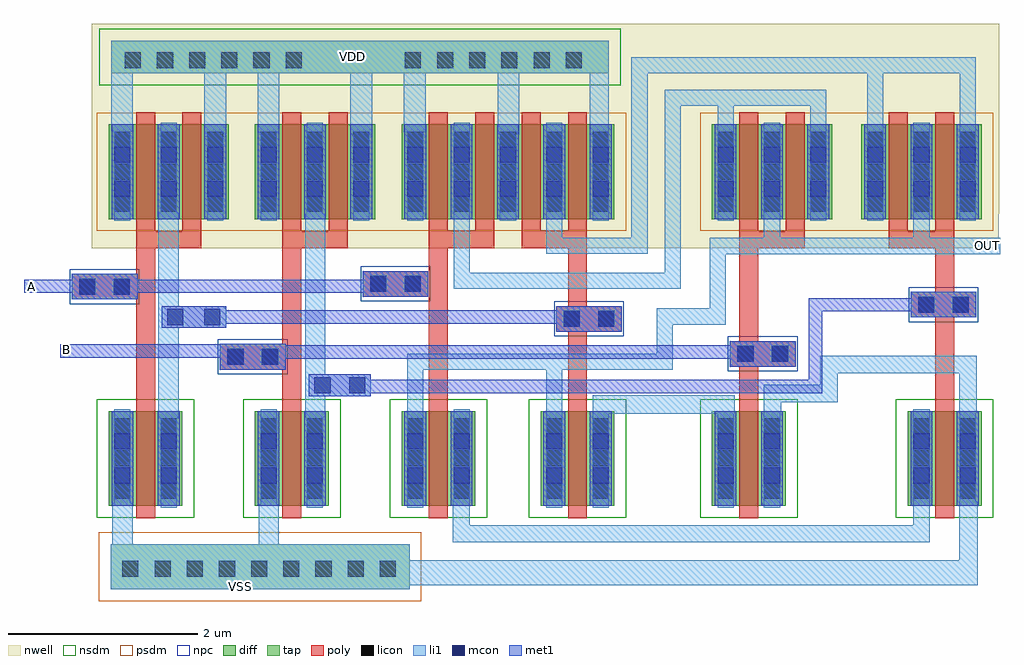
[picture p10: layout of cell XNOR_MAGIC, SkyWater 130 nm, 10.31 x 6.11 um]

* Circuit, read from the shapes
.subckt XNOR_MAGIC A B OUT VDD VSS
XM1 n1 A VSS VSS sky130_fd_pr__nfet_01v8 w=1 l=0.2
XM2 n2 B VSS VSS sky130_fd_pr__nfet_01v8 w=1 l=0.2
XM3 n3 A OUT VSS sky130_fd_pr__nfet_01v8 w=1 l=0.2
XM4 n4 n1 OUT VSS sky130_fd_pr__nfet_01v8 w=1 l=0.2
XM5 VSS B n4 VSS sky130_fd_pr__nfet_01v8 w=1 l=0.2
XM6 VSS n2 n3 VSS sky130_fd_pr__nfet_01v8 w=1 l=0.2
XM7 n1 A VDD VDD sky130_fd_pr__pfet_01v8 w=1 l=0.2 m=2
XM8 n2 B VDD VDD sky130_fd_pr__pfet_01v8 w=1 l=0.2 m=2
XM9 n5 A VDD VDD sky130_fd_pr__pfet_01v8 w=1 l=0.2 m=2
XM10 n6 n1 VDD VDD sky130_fd_pr__pfet_01v8 w=1 l=0.2 m=2
XM11 OUT B n5 VDD sky130_fd_pr__pfet_01v8 w=1 l=0.2 m=2
XM12 OUT n2 n6 VDD sky130_fd_pr__pfet_01v8 w=1 l=0.2 m=2
.ends

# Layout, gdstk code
import gdstk
lib = gdstk.Library(unit=1e-6, precision=1e-09)
def R(c, l, rs):  # rectangles x0, y0, x1, y1
    for r in rs: c.add(gdstk.rectangle(r[:2], r[2:], *l))
def A(c, l, x, y, w, h, nx, ny, dx, dy):  # array of equal rectangles
    R(c, l, [(x+i*dx, y+j*dy, x+i*dx+w, y+j*dy+h) for i in range(nx) for j in range(ny)])
nwell = (64, 20)
diff = (65, 20)
tap = (65, 44)
poly = (66, 20)
licon = (66, 44)
li1 = (67, 20)
mcon = (67, 44)
met1 = (68, 20)
nsdm = (93, 44)
psdm = (94, 20)
npc = (95, 20)

sky130_fd_pr__nfet_01v8_ = lib.new_cell('sky130_fd_pr__nfet_01v8_NUEGCF#0')
R(sky130_fd_pr__nfet_01v8_, diff, [(-0.39,-0.5,0.39,0.5)])
R(sky130_fd_pr__nfet_01v8_, poly, [(-0.1,-0.63,0.1,0.63)])
A(sky130_fd_pr__nfet_01v8_, licon, -0.33, -0.425, 0.17, 0.17, 1, 3, 0, 0.34)
A(sky130_fd_pr__nfet_01v8_, licon, 0.16, -0.425, 0.17, 0.17, 1, 3, 0, 0.34)
R(sky130_fd_pr__nfet_01v8_, li1, [(-0.33,-0.52,-0.16,0.52), (0.16,-0.52,0.33,0.52)])
R(sky130_fd_pr__nfet_01v8_, mcon, [(-0.33,-0.265,-0.16,-0.095), (0.16,-0.265,0.33,-0.095), (-0.33,0.095,-0.16,0.265), (0.16,0.095,0.33,0.265)])
R(sky130_fd_pr__nfet_01v8_, met1, [(-0.36,-0.5,-0.13,0.5), (0.13,-0.5,0.36,0.5)])
R(sky130_fd_pr__nfet_01v8_, nsdm, [(-0.515,-0.625,0.515,0.625)])

sky130_fd_pr__pfet_01v8_ = lib.new_cell('sky130_fd_pr__pfet_01v8_ES6JQB#0')
R(sky130_fd_pr__pfet_01v8_, nwell, [(-0.57,-0.81,0.57,0.81)])
R(sky130_fd_pr__pfet_01v8_, diff, [(-0.39,-0.5,0.39,0.5)])
R(sky130_fd_pr__pfet_01v8_, poly, [(-0.1,-0.63,0.1,0.63)])
A(sky130_fd_pr__pfet_01v8_, licon, -0.33, -0.425, 0.17, 0.17, 1, 3, 0, 0.34)
A(sky130_fd_pr__pfet_01v8_, licon, 0.16, -0.425, 0.17, 0.17, 1, 3, 0, 0.34)
R(sky130_fd_pr__pfet_01v8_, li1, [(-0.33,-0.52,-0.16,0.52), (0.16,-0.52,0.33,0.52)])
R(sky130_fd_pr__pfet_01v8_, mcon, [(-0.33,-0.265,-0.16,-0.095), (0.16,-0.265,0.33,-0.095), (-0.33,0.095,-0.16,0.265), (0.16,0.095,0.33,0.265)])
R(sky130_fd_pr__pfet_01v8_, met1, [(-0.36,-0.5,-0.13,0.5), (0.13,-0.5,0.36,0.5)])
R(sky130_fd_pr__pfet_01v8_, psdm, [(-0.515,-0.625,0.515,0.625)])

xnor_magic = lib.new_cell('XNOR_MAGIC')
R(xnor_magic, nwell, [(-0.09,0.615,8.945,0.785), (-0.09,0.785,8.955,0.98), (-0.09,0.98,9.1,2.225), (-0.49,2.225,9.1,2.99)])
R(xnor_magic, tap, [(-0.29,-2.99,2.87,-2.51), (-0.285,2.465,4.975,2.81)])
R(xnor_magic, poly, [(6.355,-1.26,6.555,-0.635), (3.075,-1.22,3.275,0.105), (8.425,-1.16,8.625,-0.115), (4.545,-1.1,4.745,-0.265), (1.525,-1.075,1.725,-0.665), (-0.02,-1.035,0.18,0.075), (0.865,-0.665,1.725,-0.395), (6.255,-0.635,6.95,-0.365), (1.525,-0.395,1.725,0.615), (6.355,-0.365,6.555,0.615), (4.42,-0.265,5.115,0.005), (8.165,-0.115,8.86,0.155), (4.545,0.005,4.745,0.615), (-0.7,0.075,0.18,0.345), (2.375,0.105,3.275,0.375), (8.425,0.155,8.625,0.615), (-0.02,0.345,0.18,0.615), (3.075,0.375,3.275,0.615), (-0.02,0.615,0.67,0.795), (1.525,0.615,2.215,0.795), (3.075,0.615,3.765,0.8), (4.055,0.615,4.745,0.8), (6.355,0.615,7.045,0.795), (7.935,0.615,8.625,0.795), (-0.02,0.795,0.18,0.925), (1.525,0.795,1.725,0.85), (2.015,0.795,2.215,0.815), (6.355,0.795,6.555,0.85), (8.425,0.795,8.625,0.815), (3.075,0.8,3.275,0.815), (4.545,0.8,4.745,0.815)])
A(xnor_magic, licon, -0.165, -2.855, 0.17, 0.17, 9, 1, 0.34, 0)
A(xnor_magic, licon, -0.14, 2.52, 0.17, 0.17, 6, 1, 0.34, 0)
A(xnor_magic, licon, 2.82, 2.52, 0.17, 0.17, 6, 1, 0.34, 0)
R(xnor_magic, licon, [(0.945,-0.615,1.115,-0.445), (1.31,-0.615,1.48,-0.445), (6.335,-0.585,6.505,-0.415), (6.7,-0.585,6.87,-0.415), (4.5,-0.215,4.67,-0.045), (4.865,-0.215,5.035,-0.045), (8.245,-0.065,8.415,0.105), (8.61,-0.065,8.78,0.105), (-0.62,0.125,-0.45,0.295), (-0.255,0.125,-0.085,0.295), (2.455,0.155,2.625,0.325), (2.82,0.155,2.99,0.325)])
R(xnor_magic, li1, [(-0.29,-2.99,2.87,-2.945), (-0.29,-2.945,8.875,-2.68), (-0.29,-2.68,2.87,-2.51), (8.68,-2.68,8.875,-2.065), (-0.27,-2.51,-0.055,-2.08), (1.275,-2.51,1.49,-2.09), (3.325,-2.49,8.365,-2.31), (3.325,-2.31,3.505,-2.04), (8.195,-2.31,8.365,-2.1), (0.215,-1.18,0.43,-0.225), (1.765,-1.17,1.98,-0.945), (4.805,-1.13,6.305,-0.935), (8.68,-1.12,8.865,-0.705), (6.615,-1.115,6.8,-1.01), (2.845,-1.11,3.015,-0.67), (4.315,-1.1,4.485,-0.67), (6.615,-1.01,7.395,-0.825), (1.765,-0.945,2.46,-0.715), (7.21,-0.825,7.395,-0.705), (1.765,-0.715,1.98,0.98), (7.21,-0.705,8.865,-0.52), (2.845,-0.67,5.65,-0.5), (0.865,-0.665,1.56,-0.395), (6.255,-0.635,6.95,-0.365), (5.48,-0.5,5.65,-0.19), (4.42,-0.265,5.115,0.005), (0.215,-0.225,0.93,0.005), (5.48,-0.19,6.21,-0.02), (8.165,-0.115,8.86,0.155), (6.04,-0.02,6.21,0.555), (0.215,0.005,0.43,0.99), (-0.7,0.075,-0.005,0.345), (2.375,0.105,3.07,0.375), (3.335,0.19,5.735,0.36), (3.335,0.36,3.505,0.985), (5.565,0.36,5.735,2.12), (6.04,0.555,9.11,0.725), (4.315,0.56,5.385,0.73), (6.615,0.725,6.785,0.925), (8.195,0.725,8.365,0.985), (4.315,0.73,4.485,0.93), (5.215,0.73,5.385,2.465), (0.7,1.795,0.93,2.465), (2.245,1.82,2.475,2.465), (3.8,1.82,4.03,2.465), (4.775,1.82,4.975,2.465), (2.81,1.84,3.04,2.465), (1.265,1.845,1.495,2.465), (-0.285,1.855,-0.055,2.465), (7.105,1.915,7.275,2.12), (6.125,1.925,6.295,2.12), (7.705,1.925,7.875,2.465), (8.685,1.925,8.855,2.465), (5.565,2.12,7.275,2.29), (-0.285,2.465,4.975,2.81), (5.215,2.465,8.855,2.635)])
R(xnor_magic, mcon, [(1.865,-0.915,2.035,-0.745), (2.23,-0.915,2.4,-0.745), (0.945,-0.615,1.115,-0.445), (1.31,-0.615,1.48,-0.445), (6.335,-0.585,6.505,-0.415), (6.7,-0.585,6.87,-0.415), (4.5,-0.215,4.67,-0.045), (4.865,-0.215,5.035,-0.045), (0.31,-0.195,0.48,-0.025), (0.7,-0.195,0.87,-0.025), (8.245,-0.065,8.415,0.105), (8.61,-0.065,8.78,0.105), (-0.62,0.125,-0.45,0.295), (-0.255,0.125,-0.085,0.295), (2.455,0.155,2.625,0.325), (2.82,0.155,2.99,0.325)])
R(xnor_magic, met1, [(1.805,-0.945,2.46,-0.915), (1.805,-0.915,7.23,-0.775), (1.805,-0.775,2.46,-0.715), (7.09,-0.775,7.23,-0.05), (0.865,-0.665,1.56,-0.55), (6.255,-0.635,6.95,-0.55), (0.865,-0.55,6.95,-0.54), (-0.82,-0.54,6.95,-0.41), (-0.82,-0.41,1.56,-0.4), (6.255,-0.41,6.95,-0.365), (0.865,-0.4,1.56,-0.395), (4.42,-0.265,5.115,-0.18), (0.25,-0.225,0.93,-0.18), (0.25,-0.18,5.115,-0.04), (8.165,-0.115,8.86,-0.05), (7.09,-0.05,8.86,0.09), (0.25,-0.04,0.93,0.005), (4.42,-0.04,5.115,0.005), (-0.7,0.075,-0.005,0.145), (8.165,0.09,8.86,0.155), (2.375,0.105,3.07,0.145), (-1.205,0.145,3.07,0.285), (-0.7,0.285,-0.005,0.345), (2.375,0.285,3.07,0.375)])
R(xnor_magic, nsdm, [(-0.41,2.34,5.1,2.935)])
R(xnor_magic, psdm, [(-0.415,-3.115,2.995,-2.385), (1.085,0.8,1.11,2.05), (2.63,0.8,2.66,2.05), (7.46,0.8,7.52,2.05)])
R(xnor_magic, npc, [(0.845,-0.715,1.58,-0.345), (6.235,-0.685,6.97,-0.315), (4.4,-0.315,5.135,0.055), (8.145,-0.165,8.88,0.205), (-0.72,0.025,0.015,0.395), (2.355,0.055,3.09,0.425)])
xnor_magic.add(gdstk.Reference(sky130_fd_pr__nfet_01v8_, (0.08,-1.605)))
xnor_magic.add(gdstk.Reference(sky130_fd_pr__nfet_01v8_, (1.625,-1.605)))
xnor_magic.add(gdstk.Reference(sky130_fd_pr__nfet_01v8_, (3.175,-1.605)))
xnor_magic.add(gdstk.Reference(sky130_fd_pr__nfet_01v8_, (4.645,-1.605)))
xnor_magic.add(gdstk.Reference(sky130_fd_pr__nfet_01v8_, (6.455,-1.605)))
xnor_magic.add(gdstk.Reference(sky130_fd_pr__nfet_01v8_, (8.525,-1.605)))
xnor_magic.add(gdstk.Reference(sky130_fd_pr__pfet_01v8_, (0.08,1.425)))
xnor_magic.add(gdstk.Reference(sky130_fd_pr__pfet_01v8_, (0.57,1.425)))
xnor_magic.add(gdstk.Reference(sky130_fd_pr__pfet_01v8_, (1.625,1.425)))
xnor_magic.add(gdstk.Reference(sky130_fd_pr__pfet_01v8_, (3.175,1.425)))
xnor_magic.add(gdstk.Reference(sky130_fd_pr__pfet_01v8_, (2.115,1.425)))
xnor_magic.add(gdstk.Reference(sky130_fd_pr__pfet_01v8_, (3.665,1.425)))
xnor_magic.add(gdstk.Reference(sky130_fd_pr__pfet_01v8_, (4.155,1.425)))
xnor_magic.add(gdstk.Reference(sky130_fd_pr__pfet_01v8_, (4.645,1.425)))
xnor_magic.add(gdstk.Reference(sky130_fd_pr__pfet_01v8_, (6.455,1.425)))
xnor_magic.add(gdstk.Reference(sky130_fd_pr__pfet_01v8_, (8.035,1.425)))
xnor_magic.add(gdstk.Reference(sky130_fd_pr__pfet_01v8_, (6.945,1.425)))
xnor_magic.add(gdstk.Reference(sky130_fd_pr__pfet_01v8_, (8.525,1.425)))
xnor_magic.add(gdstk.Label('A', (-1.125,0.215), layer=68, texttype=5))
xnor_magic.add(gdstk.Label('B', (-0.755,-0.455), layer=68, texttype=5))
xnor_magic.add(gdstk.Label('VDD', (2.265,2.64), layer=67, texttype=5))
xnor_magic.add(gdstk.Label('VSS', (1.085,-2.96), layer=67, texttype=5))
xnor_magic.add(gdstk.Label('OUT', (8.98,0.65), layer=67, texttype=5))

lib.write_gds('XNOR_MAGIC.gds')
